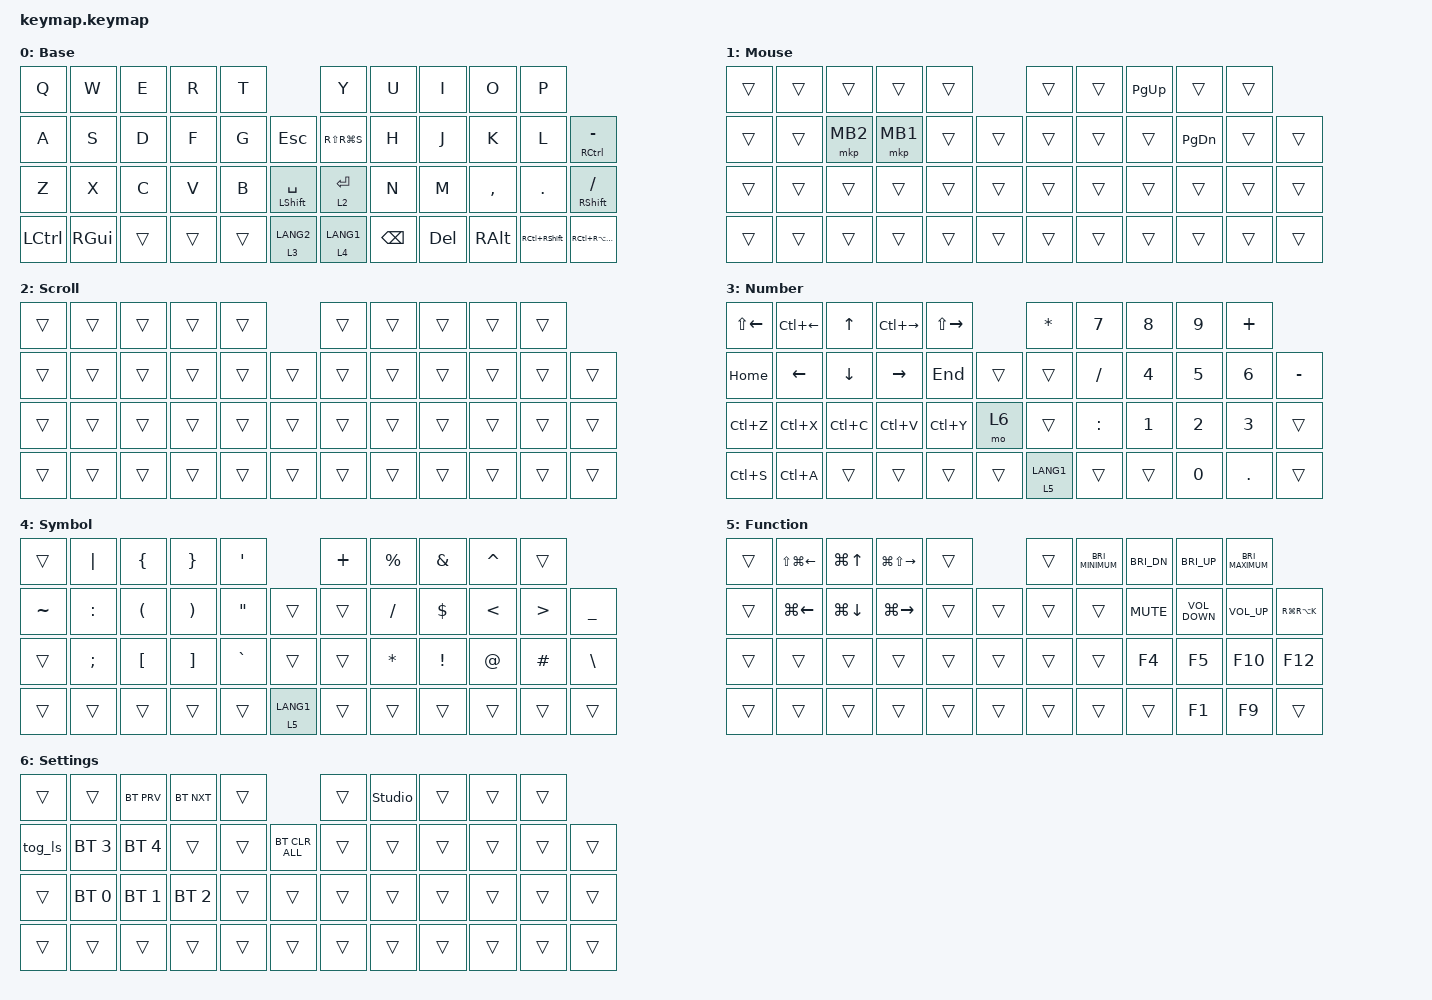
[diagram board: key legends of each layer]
#include <input/processors.dtsi>
#include <layout_shift.dtsi>
#include <behaviors.dtsi>
#include <dt-bindings/zmk/bt.h>
#include <dt-bindings/zmk/keys.h>
#include <dt-bindings/zmk/pointing.h>

// Layout Shift Overlay - Replaces &kp behavior with custom implementation
// Copied inline from layout_shift_kp_override.dtsi to avoid Keymap Editor reordering issues

/ {
    behaviors {
        // Keep the original key_press behavior for ZMK core components

        original_key_press: original_key_press {
            compatible = "zmk,behavior-key-press";
            #binding-cells = <1>;
            label = "KEY_PRESS";
        };

        // Override the existing &kp behavior to use our custom implementation

        kp: key_press {
            compatible = "zmk,behavior-layout-shift-key-press";
            #binding-cells = <1>;
            label = "LAYOUT_SHIFT_KEY_PRESS";
        };
    };

    combos {
        compatible = "zmk,combos";

        bt_clear {
            bindings = <&bt BT_CLR>;
            key-positions = <0 15 34>;
        };

        tab {
            bindings = <&kp TAB>;
            key-positions = <12 13>;
        };

        shift_tab {
            bindings = <&kp LS(TAB)>;
            key-positions = <2 3>;
        };

        ctl_f {
            bindings = <&kp LC(F)>;
            key-positions = <18 19>;
        };

        ctl_shift_f {
            bindings = <&kp LC(LS(F))>;
            key-positions = <6 7>;
        };

        colon {
            bindings = <&kp COLON>;
            key-positions = <31 32>;
        };
    };

    // Auto mouse layer configuration

    input_processors {
        auto_mouse_layer: auto_mouse_layer {
            compatible = "zmk,input-processor-temp-layer";
            #input-processor-cells = <2>;
            require-prior-idle-ms = <500>;
            excluded-positions = <12 13>;   // Don't deactivate layer on combo keys and MINUS key
        };
    };

    keymap {
        compatible = "zmk,keymap";

        main_layer0 {
            display-name = "Base";
            bindings = <
  &kp Q      &kp W          &kp E   &kp R   &kp T                           &kp Y          &kp U          &kp I    &kp O          &kp P
  &kp A      &kp S          &kp D   &kp F   &kp G   &kp ESCAPE              &kp RS(RG(S))  &kp H          &kp J    &kp K          &kp L                &mt RCTRL MINUS
  &kp Z      &kp X          &kp C   &kp V   &kp B   &mt LEFT_SHIFT SPACE    &lt 2 ENTER    &kp N          &kp M    &kp COMMA      &kp PERIOD           &mt RIGHT_SHIFT SLASH
  &kp LCTRL  &kp RIGHT_GUI  &trans  &trans  &trans  &lt 3 LANG2             &lt 4 LANG1    &kp BACKSPACE  &kp DEL  &kp RIGHT_ALT  &kp RC(RIGHT_SHIFT)  &kp RC(RA(RIGHT_SHIFT))
            >;
        };

        mouse {
            display-name = "Mouse";
            bindings = <
  &trans  &trans  &trans    &trans    &trans            &trans  &trans  &kp PAGE_UP  &trans         &trans
  &trans  &trans  &mkp MB2  &mkp MB1  &trans  &trans    &trans  &trans  &trans       &kp PAGE_DOWN  &trans  &trans
  &trans  &trans  &trans    &trans    &trans  &trans    &trans  &trans  &trans       &trans         &trans  &trans
  &trans  &trans  &trans    &trans    &trans  &trans    &trans  &trans  &trans       &trans         &trans  &trans
            >;
        };

        scroll {
            display-name = "Scroll";
            bindings = <
  &trans  &trans  &trans  &trans  &trans            &trans  &trans  &trans  &trans  &trans
  &trans  &trans  &trans  &trans  &trans  &trans    &trans  &trans  &trans  &trans  &trans  &trans
  &trans  &trans  &trans  &trans  &trans  &trans    &trans  &trans  &trans  &trans  &trans  &trans
  &trans  &trans  &trans  &trans  &trans  &trans    &trans  &trans  &trans  &trans  &trans  &trans
            >;
        };

        num {
            display-name = "Number";
            bindings = <
  &kp LS(LEFT_ARROW)  &kp LC(LEFT_ARROW)  &kp UP_ARROW    &kp LC(RIGHT_ARROW)  &kp LS(RIGHT_ARROW)            &kp ASTRK    &kp NUMBER_7  &kp NUMBER_8  &kp NUMBER_9  &kp PLUS
  &kp HOME            &kp LEFT_ARROW      &kp DOWN_ARROW  &kp RIGHT_ARROW      &kp END              &trans    &trans       &kp SLASH     &kp NUMBER_4  &kp NUMBER_5  &kp NUMBER_6  &kp MINUS
  &kp LC(Z)           &kp LC(X)           &kp LC(C)       &kp LC(V)            &kp LC(Y)            &mo 6     &trans       &kp COLON     &kp NUMBER_1  &kp NUMBER_2  &kp NUMBER_3  &trans
  &kp LC(S)           &kp LC(A)           &trans          &trans               &trans               &trans    &lt 5 LANG1  &trans        &trans        &kp N0        &kp PERIOD    &trans
            >;
        };

        symbol {
            display-name = "Symbol";
            bindings = <
  &trans     &kp PIPE       &kp LEFT_BRACE        &kp RIGHT_BRACE        &kp SINGLE_QUOTE                  &kp PLUS  &kp PERCENT   &kp AMPERSAND    &kp CARET      &trans
  &kp TILDE  &kp COLON      &kp LEFT_PARENTHESIS  &kp RIGHT_PARENTHESIS  &kp DOUBLE_QUOTES  &trans         &trans    &kp SLASH     &kp DOLLAR       &kp LESS_THAN  &kp GREATER_THAN  &kp UNDERSCORE
  &trans     &kp SEMICOLON  &kp LEFT_BRACKET      &kp RIGHT_BRACKET      &kp GRAVE          &trans         &trans    &kp ASTERISK  &kp EXCLAMATION  &kp AT         &kp HASH          &kp BACKSLASH
  &trans     &trans         &trans                &trans                 &trans             &lt 5 LANG1    &trans    &trans        &trans           &trans         &trans            &trans
            >;
        };

        function {
            display-name = "Function";
            bindings = <
  &trans  &kp LS(LG(LEFT_ARROW))  &kp LG(UP_ARROW)    &kp LG(LS(RIGHT_ARROW))  &trans            &trans  &kp C_BRIGHTNESS_MINIMUM  &kp C_BRI_DN  &kp C_BRI_UP       &kp C_BRIGHTNESS_MAXIMUM
  &trans  &kp LG(LEFT_ARROW)      &kp LG(DOWN_ARROW)  &kp LG(RIGHT_ARROW)      &trans  &trans    &trans  &trans                    &kp C_MUTE    &kp C_VOLUME_DOWN  &kp C_VOLUME_UP           &kp RG(RA(K))
  &trans  &trans                  &trans              &trans                   &trans  &trans    &trans  &trans                    &kp F4        &kp F5             &kp F10                   &kp F12
  &trans  &trans                  &trans              &trans                   &trans  &trans    &trans  &trans                    &trans        &kp F1             &kp F9                    &trans
            >;
        };

        set {
            display-name = "Settings";
            bindings = <
  &trans   &trans        &bt BT_PRV    &bt BT_NXT    &trans                    &trans  &studio_unlock  &trans  &trans  &trans
  &tog_ls  &bt BT_SEL 3  &bt BT_SEL 4  &trans        &trans  &bt BT_CLR_ALL    &trans  &trans          &trans  &trans  &trans  &trans
  &trans   &bt BT_SEL 0  &bt BT_SEL 1  &bt BT_SEL 2  &trans  &trans            &trans  &trans          &trans  &trans  &trans  &trans
  &trans   &trans        &trans        &trans        &trans  &trans            &trans  &trans          &trans  &trans  &trans  &trans
            >;
        };
    };
};
